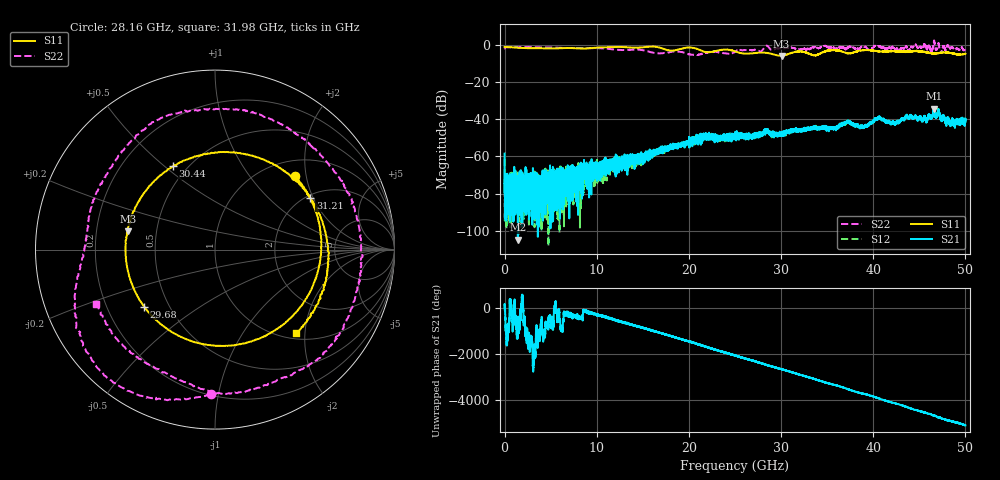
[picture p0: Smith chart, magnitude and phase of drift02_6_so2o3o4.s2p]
!Created with skrf (http://scikit-rf.org).
# Hz S RI R 50.0
!freq ReS11 ImS11 ReS21 ImS21 ReS12 ImS12 ReS22 ImS22
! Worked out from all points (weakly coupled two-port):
!   10001 points, 300 kHz to 50 GHz, reference 50 ohm
!   highest |S21| = -34.39 dB at 46.6 GHz (marker M1); lowest = -104.7 dB at 1.44 GHz (marker M2)
!   lowest |S11| = -6.1 dB at 30.06 GHz (marker M3), VSWR 2.96, Z = 17 + j4.64 ohm
!   |S11| at or under -10 dB: nowhere
!   |S22| runs from -5.7 to 2.2 dB; largest |S21 - S12| = 0.0037
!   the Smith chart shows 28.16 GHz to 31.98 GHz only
!   S11 on the Smith chart (normalised r, x): 28.16 GHz: 1.34, +1.73; 29.68 GHz: 0.36, -0.31; 30.44 GHz: 0.42, +0.53; 31.21 GHz: 2.10, +1.90; 31.98 GHz: 1.12, -1.79
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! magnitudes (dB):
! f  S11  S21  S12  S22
! 300 kHz  -1.3  -58.6  -61.3  -2.0
! 260.3 MHz  -1.4  -76.1  -73.6  -1.4
! 1.44 GHz  -1.7  -104.7  -72.5  -1.4
! 3.925 GHz  -2.0  -73.3  -72.2  -1.5
! 8.335 GHz  -2.2  -70.0  -68.7  -1.9
! 16.67 GHz  -1.5  -57.1  -56.4  -4.7
! 21.69 GHz  -3.9  -49.6  -49.0  -4.5
! 25 GHz  -3.7  -48.8  -50.0  -3.9
! 28.16 GHz  -4.4  -46.0  -47.6  -1.9
! 29.68 GHz  -5.9  -48.5  -48.5  -2.1
! 30.06 GHz  -6.1  -48.2  -48.2  -2.1
! 30.44 GHz  -5.7  -47.1  -47.6  -1.9
! 31.21 GHz  -4.4  -46.7  -46.6  -1.8
! 31.98 GHz  -3.8  -46.4  -45.5  -2.8
! 33.34 GHz  -5.5  -44.5  -44.5  -1.5
! 37.25 GHz  -4.7  -41.4  -41.1  -1.5
! 38.86 GHz  -3.0  -44.2  -44.4  -1.2
! 40.57 GHz  -3.6  -39.3  -39.1  -0.9
! 41.67 GHz  -3.6  -41.6  -41.4  -1.9
! 46.6 GHz  -4.6  -34.4  -34.6  1.7
! 48.51 GHz  -4.6  -42.0  -41.0  -1.5
! 50 GHz  -4.9  -40.1  -41.3  -2.6
